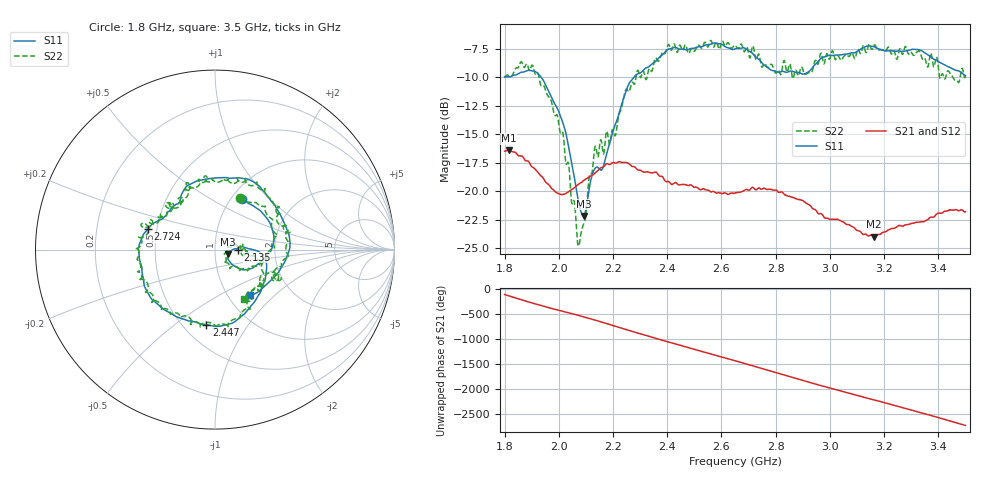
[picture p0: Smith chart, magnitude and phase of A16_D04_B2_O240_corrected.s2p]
! Created with skrf 1.9.0 (http://scikit-rf.org).
# Hz S RI R 50.0
!freq ReS11 ImS11 ReS21 ImS21 ReS12 ImS12 ReS22 ImS22
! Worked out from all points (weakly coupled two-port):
!   1601 points, 1.8 GHz to 3.5 GHz, reference 50 ohm
!   highest |S21| = -16.40 dB at 1.815 GHz (marker M1); lowest = -24.0 dB at 3.163 GHz (marker M2)
!   lowest |S11| = -22.2 dB at 2.091 GHz (marker M3), VSWR 1.17, Z = 57.9 - j2.89 ohm
!   |S11| at or under -10 dB: 1.935 GHz to 2.277 GHz (341.5 MHz wide, 16.2 % of centre)
!   |S22| runs from -24.8 to -6.8 dB; largest |S21 - S12| = 0.0025
!   S11 on the Smith chart (normalised r, x): 1.8 GHz: 1.13, +0.70; 2.135 GHz: 1.29, -0.00; 2.447 GHz: 0.65, -0.66; 2.724 GHz: 0.45, +0.12; 3.5 GHz: 1.26, -0.72
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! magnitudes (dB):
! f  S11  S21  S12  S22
! 1.8 GHz  -9.9  -16.5  -16.5  -10.0
! 1.815 GHz  -10.0  -16.4  -16.4  -9.8
! 1.902 GHz  -9.4  -17.9  -17.8  -8.9
! 1.967 GHz  -11.4  -19.5  -19.6  -11.8
! 2.022 GHz  -14.5  -20.2  -20.2  -16.6
! 2.071 GHz  -20.7  -19.4  -19.4  -24.8
! 2.084 GHz  -21.9  -19.2  -19.2  -23.4
! 2.091 GHz  -22.2  -19.1  -19.1  -22.9
! 2.135 GHz  -17.9  -18.4  -18.4  -16.0
! 2.164 GHz  -17.8  -17.8  -17.8  -16.7
! 2.209 GHz  -14.1  -17.5  -17.5  -15.1
! 2.26 GHz  -10.5  -17.6  -17.6  -11.2
! 2.367 GHz  -8.3  -18.6  -18.5  -8.6
! 2.447 GHz  -7.5  -19.4  -19.4  -7.2
! 2.65 GHz  -7.5  -20.2  -20.1  -7.2
! 2.724 GHz  -8.2  -19.8  -19.8  -8.2
! 2.802 GHz  -9.5  -19.9  -19.9  -9.6
! 2.934 GHz  -9.2  -21.4  -21.4  -9.5
! 3.163 GHz  -7.3  -24.0  -23.9  -7.2
! 3.217 GHz  -7.7  -23.4  -23.3  -7.4
! 3.332 GHz  -7.6  -22.7  -22.7  -7.8
! 3.5 GHz  -9.9  -21.8  -21.8  -9.9
